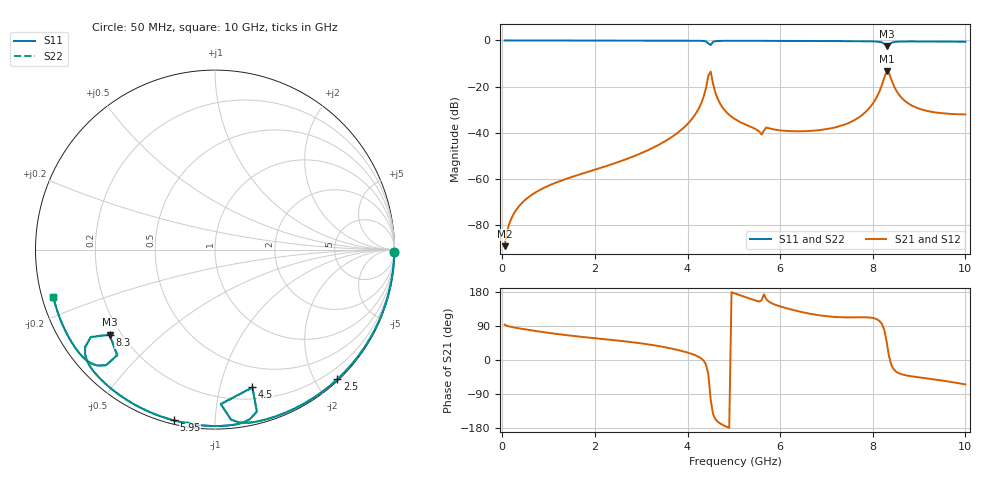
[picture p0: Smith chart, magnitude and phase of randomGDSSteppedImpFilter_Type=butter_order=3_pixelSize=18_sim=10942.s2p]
! freq	dB(S11)	phase(S11)	dB(S12)	phase(S12)
!  dB(S21)	phase(S21)	dB(S22)	phase(S22)
!S-par simulation data
#  GHz  S  DB  R 50
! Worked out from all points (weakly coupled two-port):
!   200 points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, 50 MHz to 10 GHz, reference 50 ohm
!   highest |S21| = -13.37 dB at 8.3 GHz (marker M1); lowest = -89.0 dB at 50 MHz (marker M2)
!   lowest |S11| = -2.4 dB at 8.3 GHz (marker M3), VSWR 7.18, Z = 7.82 - j17.3 ohm
!   |S11| at or under -10 dB: nowhere
!   |S22| runs from -2.5 to 0.0 dB; largest |S21 - S12| = 0
!   S11 on the Smith chart (normalised r, x): 50 MHz: open; 2.5 GHz: 0.02, -2.31; 4.5 GHz: 0.30, -1.26; 5.95 GHz: 0.02, -0.79; 8.3 GHz: 0.16, -0.35; 10 GHz: 0.03, -0.14
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0.05  -0.00 -0.9  -89.03 93.3  -89.03 93.3  -0.00 -0.9
0.65  -0.02 -12.4  -66.63 77.8  -66.63 77.8  -0.02 -12.4
1.75  -0.04 -33.0  -57.49 60.6  -57.49 60.6  -0.04 -33.0
2.5  -0.06 -46.7  -52.66 51.2  -52.66 51.2  -0.06 -46.7
3.4  -0.08 -62.8  -44.94 36.2  -44.94 36.2  -0.08 -62.8
4.15  -0.12 -76.6  -32.52 13.4  -32.52 13.4  -0.12 -76.6
4.35  -0.24 -82.1  -24.23 -2.1  -24.23 -2.1  -0.24 -82.0
4.45  -1.30 -87.9  -15.18 -38.8  -15.18 -38.8  -1.29 -87.8
4.5  -1.99 -74.8  -13.50 -105.0  -13.50 -105.0  -1.98 -74.8
4.7  -0.19 -81.7  -27.24 -167.2  -27.24 -167.2  -0.19 -81.8
5.05  -0.15 -88.8  -34.31 174.4  -34.31 174.4  -0.15 -88.8
5.6  -0.18 -98.2  -40.72 157.9  -40.72 157.9  -0.18 -98.2
5.7  -0.19 -99.5  -37.71 160.8  -37.71 160.8  -0.19 -99.5
5.95  -0.19 -103.6  -38.79 143.4  -38.79 143.4  -0.19 -103.6
6.7  -0.23 -115.3  -39.08 120.9  -39.08 120.9  -0.23 -115.3
7.75  -0.34 -132.0  -32.58 112.8  -32.58 112.8  -0.34 -132.0
8.05  -0.46 -138.1  -25.80 109.4  -25.80 109.4  -0.46 -138.1
8.3  -2.44 -141.1  -13.37 47.8  -13.37 47.8  -2.46 -141.1
8.35  -1.91 -132.8  -14.10 10.0  -14.10 10.0  -1.93 -132.7
8.55  -0.50 -138.9  -23.03 -34.1  -23.03 -34.1  -0.50 -138.8
8.85  -0.43 -145.2  -28.24 -43.3  -28.24 -43.3  -0.43 -145.2
10  -0.55 -163.8  -32.03 -64.4  -32.03 -64.4  -0.55 -163.7
